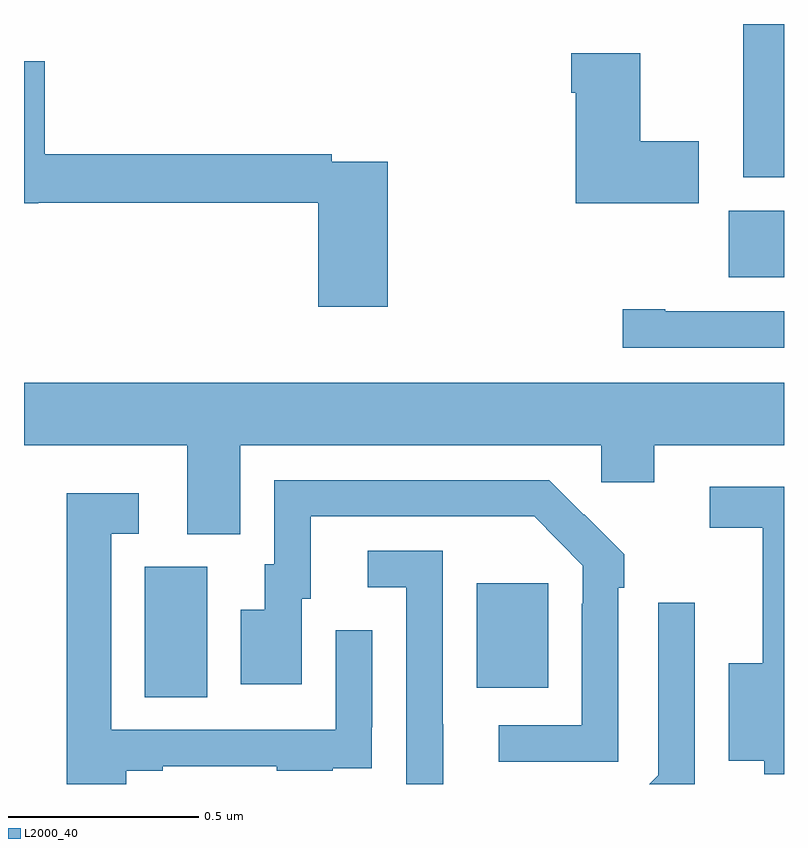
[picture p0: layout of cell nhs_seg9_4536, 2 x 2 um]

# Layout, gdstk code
import gdstk
lib = gdstk.Library(unit=1e-6, precision=1e-09)
def R(c, l, rs):  # rectangles x0, y0, x1, y1
    for r in rs: c.add(gdstk.rectangle(r[:2], r[2:], *l))
def P(c, l, *ps):  # polygons
    for p in ps: c.add(gdstk.Polygon(p, *l))
L2000_40 = (2000, 40)

nhs_seg9_4536 = lib.new_cell('nhs_seg9_4536')
R(nhs_seg9_4536, L2000_40, [(167.318,1223.728,167.482,1224.072), (168.191,1223.753,168.379,1224.028), (168.854,1224.833,169,1225.009), (168.893,1225.097,169,1225.5)])
P(nhs_seg9_4536, L2000_40, [(168.775,1225.191),(168.622,1225.191),(168.622,1225.423),(168.44,1225.423),(168.44,1225.319),(168.452,1225.319),(168.452,1225.028),(168.775,1225.028)],
  [(167.957,1225.137),(167.81,1225.137),(167.81,1225.157),(167.054,1225.157),(167.054,1225.402),(167,1225.402),(167,1225.028),(167.037,1225.028),(167.037,1225.029),(167.774,1225.029),(167.774,1224.756),(167.957,1224.756)],
  [(169,1224.744),(168.688,1224.744),(168.688,1224.749),(168.576,1224.749),(168.576,1224.648),(169,1224.648)],
  [(167.569,1224.392),(168.519,1224.392),(168.519,1224.294),(168.658,1224.294),(168.658,1224.392),(169,1224.392),(169,1224.556),(167,1224.556),(167,1224.392),(167.429,1224.392),(167.429,1224.157),(167.569,1224.157)],
  [(168.564,1224.017),(168.579,1224.017),(168.579,1224.105),(168.474,1224.21),(168.473,1224.209),(168.382,1224.3),(167.658,1224.3),(167.658,1224.078),(167.633,1224.078),(167.633,1223.959),(167.57,1223.959),(167.57,1223.763),(167.731,1223.763),(167.731,1223.988),(167.755,1223.988),(167.755,1224.204),(168.343,1224.204),(168.471,1224.075),(168.471,1223.975),(168.468,1223.975),(168.468,1223.655),(168.249,1223.655),(168.249,1223.559),(168.564,1223.559)],
  [(169,1224.282),(168.804,1224.282),(168.804,1224.174),(168.944,1224.174),(168.944,1223.818),(168.854,1223.818),(168.854,1223.561),(168.948,1223.561),(168.948,1223.526),(169,1223.526)],
  [(167.269,1223.535),(167.365,1223.535),(167.365,1223.547),(167.665,1223.547),(167.665,1223.535),(167.813,1223.535),(167.813,1223.541),(167.915,1223.541),(167.915,1223.65),(167.916,1223.65),(167.916,1223.905),(167.82,1223.905),(167.82,1223.643),(167.229,1223.643),(167.229,1224.159),(167.302,1224.159),(167.302,1224.265),(167.113,1224.265),(167.113,1223.5),(167.269,1223.5)],
  [(168.103,1223.657),(168.102,1223.657),(168.102,1224.114),(167.904,1224.114),(167.904,1224.018),(168.006,1224.018),(168.006,1223.5),(168.103,1223.5)],
  [(168.765,1223.977),(168.669,1223.977),(168.669,1223.523),(168.646,1223.5),(168.765,1223.5)])

lib.write_gds('nhs_seg9_4536.gds')
